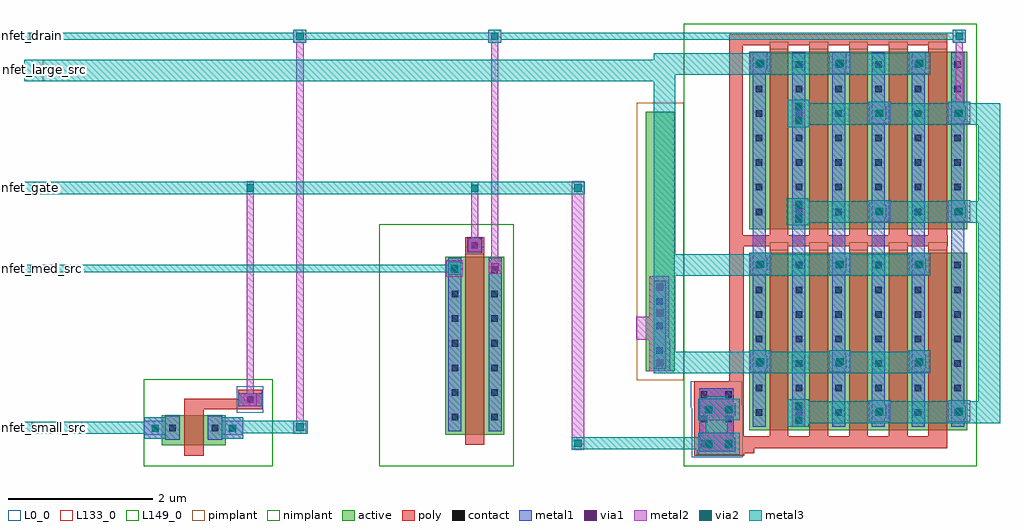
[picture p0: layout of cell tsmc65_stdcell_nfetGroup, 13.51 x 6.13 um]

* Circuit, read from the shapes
.subckt tsmc65_stdcell_nfetGroup nfet_drain nfet_gate nfet_large_src nfet_med_src nfet_small_src
M1 nfet_drain nfet_gate nfet_small_src VSUBS nfet w=0.42u l=0.27u
M2 nfet_drain nfet_gate nfet_med_src VSUBS nfet w=2.46u l=0.26u
M3 nfet_drain nfet_gate nfet_large_src VSUBS nfet w=2.46u l=0.26u m=10
.ends

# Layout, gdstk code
from math import pi, radians
import gdstk
lib = gdstk.Library(unit=1e-6, precision=1e-09)
def R(c, l, rs):  # rectangles x0, y0, x1, y1
    for r in rs: c.add(gdstk.rectangle(r[:2], r[2:], *l))
def A(c, l, x, y, w, h, nx, ny, dx, dy):  # array of equal rectangles
    R(c, l, [(x+i*dx, y+j*dy, x+i*dx+w, y+j*dy+h) for i in range(nx) for j in range(ny)])
L0_0 = (0, 0)
active = (6, 0)
poly = (17, 0)
pimplant = (25, 0)
nimplant = (26, 0)
contact = (30, 0)
metal1 = (31, 0)
metal2 = (32, 0)
metal3 = (33, 0)
via1 = (51, 0)
via2 = (52, 0)
L133_0 = (133, 0)
L149_0 = (149, 0)

sky130_hilas_nfet03a = lib.new_cell('sky130_hilas_nFET03a')
R(sky130_hilas_nfet03a, L0_0, [(-0.83,-0.46,-0.46,-0.09)])
R(sky130_hilas_nfet03a, active, [(-0.31,-0.06,0.58,0.36)])
R(sky130_hilas_nfet03a, poly, [(-0.81,-0.41,-0.48,-0.29), (-0.81,-0.29,0.27,-0.14), (0,-0.14,0.27,0.5)])
R(sky130_hilas_nfet03a, nimplant, [(-0.96,-0.56,0.83,0.65)])
R(sky130_hilas_nfet03a, contact, [(-0.69,-0.32,-0.6,-0.23), (-0.205,0.07,-0.115,0.16), (0.385,0.07,0.475,0.16)])
R(sky130_hilas_nfet03a, metal1, [(-0.81,-0.36,-0.48,-0.2), (-0.81,-0.36,-0.48,-0.19), (-0.26,-0.05,-0.06,0.28), (0.33,-0.05,0.53,0.28), (-0.55,0.02,-0.25,0.21), (0.52,0.02,0.82,0.21)])
R(sky130_hilas_nfet03a, metal2, [(-0.55,-0.03,-0.25,0.27), (0.52,-0.03,0.82,0.27)])
R(sky130_hilas_nfet03a, metal3, [(-0.55,-0.03,-0.25,0.27), (0.52,-0.03,0.82,0.27), (-1.11,0.02,-0.94,0.19), (-1.11,0.02,-0.51,0.19), (0.75,0.03,0.97,0.2), (0.85,0.03,0.97,0.2)])
R(sky130_hilas_nfet03a, via1, [(-0.45,0.07,-0.35,0.17), (0.62,0.07,0.72,0.17)])
R(sky130_hilas_nfet03a, via2, [(-0.45,0.07,-0.35,0.17), (0.62,0.07,0.72,0.17)])
sky130_hilas_nfet03a.add(gdstk.Label('GATE', (-0.725,-0.4), layer=31, texttype=0))
sky130_hilas_nfet03a.add(gdstk.Label('SOURCE', (1.015,0.125), layer=33, texttype=0))
sky130_hilas_nfet03a.add(gdstk.Label('DRAIN', (-1.145,0.095), layer=33, texttype=0))

sky130_hilas_nfetmed = lib.new_cell('sky130_hilas_nFETmed')
R(sky130_hilas_nfetmed, active, [(-0.12,-0.37,0.7,2.09)])
R(sky130_hilas_nfetmed, poly, [(0.16,-0.51,0.42,2.23)])
R(sky130_hilas_nfetmed, nimplant, [(-1.03,-0.81,0.83,2.54)])
A(sky130_hilas_nfetmed, contact, -0.03, -0.17, 0.09, 0.09, 1, 7, 0, 0.34)
A(sky130_hilas_nfetmed, contact, 0.52, -0.17, 0.09, 0.09, 1, 7, 0, 0.34)
R(sky130_hilas_nfetmed, metal1, [(-0.08,-0.32,0.1,2.08), (0.48,-0.32,0.66,2.08), (-0.08,1.91,0.1,2.08), (0.48,1.95,0.66,2.08)])
R(sky130_hilas_nfetmed, L149_0, [(0.16,2.125,0.42,2.23)])
sky130_hilas_nfetmed.add(gdstk.Label('GATE', (0.27,2.25), layer=17, texttype=0))
sky130_hilas_nfetmed.add(gdstk.Label('DRAIN', (0.73,2.055), layer=31, texttype=0))
sky130_hilas_nfetmed.add(gdstk.Label('SOURCE', (-0.185,2.02), layer=31, texttype=0))

m2_m1_cdns_675963492351 = lib.new_cell('M2_M1_CDNS_675963492351')
R(m2_m1_cdns_675963492351, metal1, [(-0.09,-0.09,0.09,0.09)])
R(m2_m1_cdns_675963492351, metal2, [(-0.115,-0.115,0.115,0.115)])
R(m2_m1_cdns_675963492351, via1, [(-0.05,-0.05,0.05,0.05)])

m3_m2_cdns_675963492350 = lib.new_cell('M3_M2_CDNS_675963492350')
R(m3_m2_cdns_675963492350, metal2, [(-0.115,-0.115,0.115,0.115)])
R(m3_m2_cdns_675963492350, metal3, [(-0.09,-0.09,0.09,0.09)])
R(m3_m2_cdns_675963492350, via2, [(-0.05,-0.05,0.05,0.05)])

sky130_hilas_li2m2 = lib.new_cell('sky130_hilas_li2m2')
R(sky130_hilas_li2m2, metal2, [(-0.11,-0.125,0.19,0.175)])
R(sky130_hilas_li2m2, metal3, [(-0.11,-0.125,0.19,0.175)])
sky130_hilas_li2m2.add(gdstk.Reference(m2_m1_cdns_675963492351, (0.04,0.02)))
sky130_hilas_li2m2.add(gdstk.Reference(m3_m2_cdns_675963492350, (0.04,0.02)))

sky130_hilas_nfetmed_0 = lib.new_cell('sky130_hilas_nFETmed_0')
R(sky130_hilas_nfetmed_0, active, [(-0.12,-0.31,0.7,2.15)])
R(sky130_hilas_nfetmed_0, poly, [(0.16,-0.45,0.42,2.29)])
R(sky130_hilas_nfetmed_0, nimplant, [(-1.03,-0.81,0.83,2.54)])
A(sky130_hilas_nfetmed_0, contact, -0.03, -0.11, 0.09, 0.09, 1, 7, 0, 0.34)
A(sky130_hilas_nfetmed_0, contact, 0.52, -0.11, 0.09, 0.09, 1, 7, 0, 0.34)
R(sky130_hilas_nfetmed_0, metal1, [(-0.075,-0.26,0.105,2.14), (0.475,-0.26,0.655,2.14), (-0.075,1.97,0.105,2.14), (0.475,2.01,0.655,2.14)])
R(sky130_hilas_nfetmed_0, L149_0, [(0.16,2.185,0.42,2.29)])
sky130_hilas_nfetmed_0.add(gdstk.Label('GATE', (0.27,2.31), layer=17, texttype=0))
sky130_hilas_nfetmed_0.add(gdstk.Label('DRAIN', (0.725,2.115), layer=31, texttype=0))
sky130_hilas_nfetmed_0.add(gdstk.Label('SOURCE', (-0.18,2.08), layer=31, texttype=0))

sky130_hilas_nfetlargepa = lib.new_cell('sky130_hilas_nFETLargePart1')
sky130_hilas_nfetlargepa.add(gdstk.Reference(sky130_hilas_nfetmed_0, (0.67,0.13)))
sky130_hilas_nfetlargepa.add(gdstk.Reference(sky130_hilas_nfetmed_0, (-1.53,0.13)))
sky130_hilas_nfetlargepa.add(gdstk.Reference(sky130_hilas_nfetmed_0, (-0.98,0.13)))
sky130_hilas_nfetlargepa.add(gdstk.Reference(sky130_hilas_nfetmed_0, (-0.43,0.13)))
sky130_hilas_nfetlargepa.add(gdstk.Reference(sky130_hilas_nfetmed_0, (0.12,0.13)))

m3_m2_cdns_675963492358 = lib.new_cell('M3_M2_CDNS_675963492358')
R(m3_m2_cdns_675963492358, metal2, [(-0.09,-0.19,0.09,0.19)])
R(m3_m2_cdns_675963492358, metal3, [(-0.09,-0.19,0.09,0.19)])
R(m3_m2_cdns_675963492358, via2, [(-0.05,-0.15,0.05,-0.05), (-0.05,0.05,0.05,0.15)])

m2_m1_cdns_675963492359 = lib.new_cell('M2_M1_CDNS_675963492359')
R(m2_m1_cdns_675963492359, metal1, [(-0.09,-0.19,0.09,0.19)])
R(m2_m1_cdns_675963492359, metal2, [(-0.09,-0.19,0.09,0.19)])
R(m2_m1_cdns_675963492359, via1, [(-0.05,-0.15,0.05,-0.05), (-0.05,0.05,0.05,0.15)])

sky130_hilas_nfetlarge = lib.new_cell('sky130_hilas_nFETLarge')
R(sky130_hilas_nfetlarge, L0_0, [(0.74,4.18,1.45,4.86), (0.73,4.86,1.45,4.89), (0.73,4.89,1.44,5.23)])
R(sky130_hilas_nfetlarge, active, [(0.105,5.37,0.505,8.96)])
R(sky130_hilas_nfetlarge, poly, [(0.78,4.2,1.47,4.23), (0.78,4.23,1.61,4.3), (0.78,4.3,4.28,4.47), (0.78,4.47,1.46,5.23), (1.26,5.23,1.46,7.1), (1.26,7.1,4.29,7.25), (1.26,7.25,1.45,9.88), (1.26,9.88,4.28,10.03)])
R(sky130_hilas_nfetlarge, pimplant, [(-0.02,5.245,0.63,9.085)])
R(sky130_hilas_nfetlarge, nimplant, [(1.415,7.135,4.685,7.205)])
A(sky130_hilas_nfetlarge, contact, 0.87, 4.32, 0.09, 0.09, 1, 3, 0, 0.34)
A(sky130_hilas_nfetlarge, contact, 1.21, 4.32, 0.09, 0.09, 1, 3, 0, 0.34)
A(sky130_hilas_nfetlarge, contact, 0.255, 5.61, 0.09, 0.09, 1, 3, 0, 0.34)
A(sky130_hilas_nfetlarge, metal1, 1.585, 7, 0.18, 0.38, 6, 1, 0.55, 0)
R(sky130_hilas_nfetlarge, metal1, [(0.845,4.25,1.325,5.13), (0.215,5.4,0.385,6.62)])
R(sky130_hilas_nfetlarge, metal2, [(0.155,5.37,0.445,5.8), (-0.025,5.8,0.445,5.82), (-0.025,5.82,0.435,6.12), (0.155,6.12,0.435,6.65), (0.155,6.65,0.435,6.68)])
R(sky130_hilas_nfetlarge, metal3, [(0.81,4.21,0.98,4.385), (0.94,4.21,1.24,5.02), (2.07,4.6,2.365,4.98), (2.07,4.65,5.01,4.95), (4.71,4.93,5.01,7.49), (0.215,5.34,4.04,5.64), (0.215,5.64,0.515,6.715), (0.215,6.69,4.04,6.99), (0.215,6.975,0.515,9.515), (2.06,7.385,2.355,7.765), (2.06,7.42,5.01,7.72), (4.71,7.665,5.01,8.61), (4.71,8.61,5.01,8.805), (2.075,8.745,2.37,9.125), (2.075,8.78,5.01,9.08), (4.69,8.78,5.01,9.08), (0.215,9.47,0.49,9.77), (0.215,9.47,4.03,9.77)])
R(sky130_hilas_nfetlarge, via1, [(0.25,5.435,0.35,5.535), (0.25,6.125,0.35,6.225), (0.25,6.485,0.35,6.585)])
sky130_hilas_nfetlarge.add(gdstk.Reference(sky130_hilas_li2m2, (1.215,4.34)))
sky130_hilas_nfetlarge.add(gdstk.Reference(sky130_hilas_li2m2, (1.215,4.815)))
sky130_hilas_nfetlarge.add(gdstk.Reference(sky130_hilas_li2m2, (4.405,8.92)))
sky130_hilas_nfetlarge.add(gdstk.Reference(sky130_hilas_li2m2, (3.305,8.92)))
sky130_hilas_nfetlarge.add(gdstk.Reference(sky130_hilas_li2m2, (1.655,9.61)))
sky130_hilas_nfetlarge.add(gdstk.Reference(sky130_hilas_li2m2, (3.855,9.61)))
sky130_hilas_nfetlarge.add(gdstk.Reference(sky130_hilas_li2m2, (2.755,9.61)))
sky130_hilas_nfetlarge.add(gdstk.Reference(sky130_hilas_li2m2, (4.405,7.56)))
sky130_hilas_nfetlarge.add(gdstk.Reference(sky130_hilas_li2m2, (3.305,7.56)))
sky130_hilas_nfetlarge.add(gdstk.Reference(sky130_hilas_li2m2, (1.655,6.83)))
sky130_hilas_nfetlarge.add(gdstk.Reference(sky130_hilas_li2m2, (3.855,6.83)))
sky130_hilas_nfetlarge.add(gdstk.Reference(sky130_hilas_li2m2, (2.755,6.83)))
sky130_hilas_nfetlarge.add(gdstk.Reference(sky130_hilas_li2m2, (0.94,4.815)))
sky130_hilas_nfetlarge.add(gdstk.Reference(sky130_hilas_li2m2, (0.94,4.34)))
sky130_hilas_nfetlarge.add(gdstk.Reference(sky130_hilas_li2m2, (1.655,5.48)))
sky130_hilas_nfetlarge.add(gdstk.Reference(sky130_hilas_li2m2, (4.405,4.79)))
sky130_hilas_nfetlarge.add(gdstk.Reference(sky130_hilas_li2m2, (3.305,4.79)))
sky130_hilas_nfetlarge.add(gdstk.Reference(sky130_hilas_li2m2, (3.855,5.48)))
sky130_hilas_nfetlarge.add(gdstk.Reference(sky130_hilas_li2m2, (2.755,5.48)))
sky130_hilas_nfetlarge.add(gdstk.Reference(sky130_hilas_nfetlargepa, (3.19,7.51)))
sky130_hilas_nfetlarge.add(gdstk.Reference(sky130_hilas_nfetlargepa, (3.19,4.73)))
sky130_hilas_nfetlarge.add(gdstk.Reference(m3_m2_cdns_675963492358, (2.225,8.935)))
sky130_hilas_nfetlarge.add(gdstk.Reference(m3_m2_cdns_675963492358, (2.225,7.575)))
sky130_hilas_nfetlarge.add(gdstk.Reference(m3_m2_cdns_675963492358, (2.225,4.79)))
sky130_hilas_nfetlarge.add(gdstk.Reference(m2_m1_cdns_675963492359, (2.225,8.935)))
sky130_hilas_nfetlarge.add(gdstk.Reference(m2_m1_cdns_675963492359, (2.225,7.575)))
sky130_hilas_nfetlarge.add(gdstk.Reference(m2_m1_cdns_675963492359, (2.225,4.79)))
sky130_hilas_nfetlarge.add(gdstk.Label('SOURCE', (0.165,9.64), layer=33, texttype=0))
sky130_hilas_nfetlarge.add(gdstk.Label('DRAIN', (4.99,8.965), layer=33, texttype=0))
sky130_hilas_nfetlarge.add(gdstk.Label('GATE', (0.64,4.33), layer=33, texttype=0))

m3_m2_cdns_675963492352 = lib.new_cell('M3_M2_CDNS_675963492352')
R(m3_m2_cdns_675963492352, metal2, [(-0.09,-0.09,0.09,0.09)])
R(m3_m2_cdns_675963492352, metal3, [(-0.09,-0.09,0.09,0.09)])
R(m3_m2_cdns_675963492352, via2, [(-0.05,-0.05,0.05,0.05)])

m2_m1_cdns_675963492353 = lib.new_cell('M2_M1_CDNS_675963492353')
R(m2_m1_cdns_675963492353, metal1, [(-0.09,-0.09,0.09,0.09)])
R(m2_m1_cdns_675963492353, metal2, [(-0.09,-0.09,0.09,0.09)])
R(m2_m1_cdns_675963492353, via1, [(-0.05,-0.05,0.05,0.05)])

m3_m2_cdns_675963492354 = lib.new_cell('M3_M2_CDNS_675963492354')
R(m3_m2_cdns_675963492354, metal2, [(-0.085,-0.09,0.085,0.09)])
R(m3_m2_cdns_675963492354, metal3, [(-0.09,-0.085,0.09,0.085)])
R(m3_m2_cdns_675963492354, via2, [(-0.05,-0.05,0.05,0.05)])

m2_m1_cdns_675963492355 = lib.new_cell('M2_M1_CDNS_675963492355')
R(m2_m1_cdns_675963492355, metal1, [(-0.105,-0.105,0.105,0.105)])
R(m2_m1_cdns_675963492355, metal2, [(-0.09,-0.09,0.09,0.09)])
R(m2_m1_cdns_675963492355, via1, [(-0.05,-0.05,0.05,0.05)])

m1_po_cdns_675963492356 = lib.new_cell('M1_PO_CDNS_675963492356')
R(m1_po_cdns_675963492356, poly, [(-0.085,-0.085,0.085,0.085)])
R(m1_po_cdns_675963492356, contact, [(-0.045,-0.045,0.045,0.045)])
R(m1_po_cdns_675963492356, metal1, [(-0.105,-0.105,0.105,0.105)])

m3_m2_cdns_675963492357 = lib.new_cell('M3_M2_CDNS_675963492357')
R(m3_m2_cdns_675963492357, metal2, [(-0.05,-0.09,0.05,0.09)])
R(m3_m2_cdns_675963492357, metal3, [(-0.09,-0.05,0.09,0.05)])
R(m3_m2_cdns_675963492357, via2, [(-0.05,-0.05,0.05,0.05)])

tsmc65_stdcell_nfetgroup = lib.new_cell('tsmc65_stdcell_nfetGroup')
R(tsmc65_stdcell_nfetgroup, poly, [(6.11,3.04,6.37,3.17)])
A(tsmc65_stdcell_nfetgroup, metal1, 10.265, 5.67, 0.02, 0.06, 3, 1, 1.1, 0)
R(tsmc65_stdcell_nfetgroup, metal1, [(9.825,0.2,9.845,0.22), (2.965,0.835,3.295,1.015)])
R(tsmc65_stdcell_nfetgroup, metal3, [(3.73,0.455,3.93,0.635), (3.595,0.46,3.93,0.63), (10.57,0.9,10.595,0.915), (12.54,1.29,12.545,1.305), (12.54,2.64,12.545,2.655), (10.56,3.67,10.595,3.685), (10.575,5.03,10.595,5.045), (12.53,5.42,12.545,5.435)])
R(tsmc65_stdcell_nfetgroup, L133_0, [(0.005,0.45,0.115,0.62), (0,2.69,0.1,2.79), (0,3.77,0.155,3.94), (0,5.33,0.265,5.63), (0,5.905,0.085,6.005)])
tsmc65_stdcell_nfetgroup.add(gdstk.FlexPath([(7.67,3.855),(0,3.855)], 0.17, ends="flush", simple_path=True, layer=33, datatype=0))  # metal3
tsmc65_stdcell_nfetgroup.add(gdstk.FlexPath([(9.405,0.32),(7.67,0.32)], 0.17, ends="flush", simple_path=True, layer=33, datatype=0))  # metal3
tsmc65_stdcell_nfetgroup.add(gdstk.FlexPath([(12.945,5.955),(0,5.955)], 0.1, ends="flush", simple_path=True, layer=33, datatype=0))  # metal3
tsmc65_stdcell_nfetgroup.add(gdstk.FlexPath([(8.75,5.48),(0,5.48)], 0.3, ends="flush", simple_path=True, layer=33, datatype=0))  # metal3
tsmc65_stdcell_nfetgroup.add(gdstk.FlexPath([(5.965,2.74),(0,2.74)], 0.1, ends="flush", simple_path=True, layer=33, datatype=0))  # metal3
tsmc65_stdcell_nfetgroup.add(gdstk.FlexPath([(1.52,0.535),(0,0.535)], 0.17, ends="flush", simple_path=True, layer=33, datatype=0))  # metal3
tsmc65_stdcell_nfetgroup.add(gdstk.FlexPath([(3.13,0.925),(3.13,3.855)], 0.1, ends="flush", simple_path=True, layer=32, datatype=0))  # metal2
tsmc65_stdcell_nfetgroup.add(gdstk.FlexPath([(6.24,2.995),(6.24,3.85)], 0.1, ends="flush", simple_path=True, layer=32, datatype=0))  # metal2
tsmc65_stdcell_nfetgroup.add(gdstk.FlexPath([(7.67,0.32),(7.67,3.855)], 0.17, ends="flush", simple_path=True, layer=32, datatype=0))  # metal2
tsmc65_stdcell_nfetgroup.add(gdstk.FlexPath([(3.82,6.005),(3.82,0.545)], 0.1, ends="flush", simple_path=True, layer=32, datatype=0))  # metal2
tsmc65_stdcell_nfetgroup.add(gdstk.FlexPath([(6.515,2.76),(6.515,6.005)], 0.1, ends="flush", simple_path=True, layer=32, datatype=0))  # metal2
tsmc65_stdcell_nfetgroup.add(gdstk.FlexPath([(12.945,4.89),(12.945,6.005)], 0.1, ends="flush", simple_path=True, layer=32, datatype=0))  # metal2
tsmc65_stdcell_nfetgroup.add(gdstk.Reference(sky130_hilas_nfet03a, (2.485,0.65), rotation=pi))
tsmc65_stdcell_nfetgroup.add(gdstk.Reference(sky130_hilas_nfetmed, (5.95,0.81)))
tsmc65_stdcell_nfetgroup.add(gdstk.Reference(sky130_hilas_nfetlarge, (8.5,-4.05)))
tsmc65_stdcell_nfetgroup.add(gdstk.Reference(m3_m2_cdns_675963492350, (5.96,2.74)))
tsmc65_stdcell_nfetgroup.add(gdstk.Reference(m2_m1_cdns_675963492351, (5.96,2.74)))
tsmc65_stdcell_nfetgroup.add(gdstk.Reference(m3_m2_cdns_675963492352, (3.82,5.955)))
tsmc65_stdcell_nfetgroup.add(gdstk.Reference(m3_m2_cdns_675963492352, (3.82,0.545)))
tsmc65_stdcell_nfetgroup.add(gdstk.Reference(m3_m2_cdns_675963492352, (6.515,5.955)))
tsmc65_stdcell_nfetgroup.add(gdstk.Reference(m3_m2_cdns_675963492352, (12.945,5.955)))
tsmc65_stdcell_nfetgroup.add(gdstk.Reference(m2_m1_cdns_675963492353, (3.13,0.925)))
tsmc65_stdcell_nfetgroup.add(gdstk.Reference(m2_m1_cdns_675963492353, (6.52,2.76)))
tsmc65_stdcell_nfetgroup.add(gdstk.Reference(m3_m2_cdns_675963492354, (7.67,3.855)))
tsmc65_stdcell_nfetgroup.add(gdstk.Reference(m3_m2_cdns_675963492354, (7.67,0.32)))
tsmc65_stdcell_nfetgroup.add(gdstk.Reference(m2_m1_cdns_675963492355, (6.24,3.06)))
tsmc65_stdcell_nfetgroup.add(gdstk.Reference(m1_po_cdns_675963492356, (6.24,3.06)))
tsmc65_stdcell_nfetgroup.add(gdstk.Reference(m3_m2_cdns_675963492357, (3.13,3.855)))
tsmc65_stdcell_nfetgroup.add(gdstk.Reference(m3_m2_cdns_675963492357, (6.24,3.85)))
tsmc65_stdcell_nfetgroup.add(gdstk.Label('nfet_gate', (0.085,3.855), layer=133, texttype=0))
tsmc65_stdcell_nfetgroup.add(gdstk.Label('nfet_drain', (0.045,5.97), layer=133, texttype=0))
tsmc65_stdcell_nfetgroup.add(gdstk.Label('nfet_large_src', (0.11,5.49), layer=133, texttype=0))
tsmc65_stdcell_nfetgroup.add(gdstk.Label('nfet_med_src', (0.03,2.745), layer=133, texttype=0))
tsmc65_stdcell_nfetgroup.add(gdstk.Label('nfet_small_src', (0.06,0.535), layer=133, texttype=0))

lib.write_gds('tsmc65_stdcell_nfetGroup.gds')
